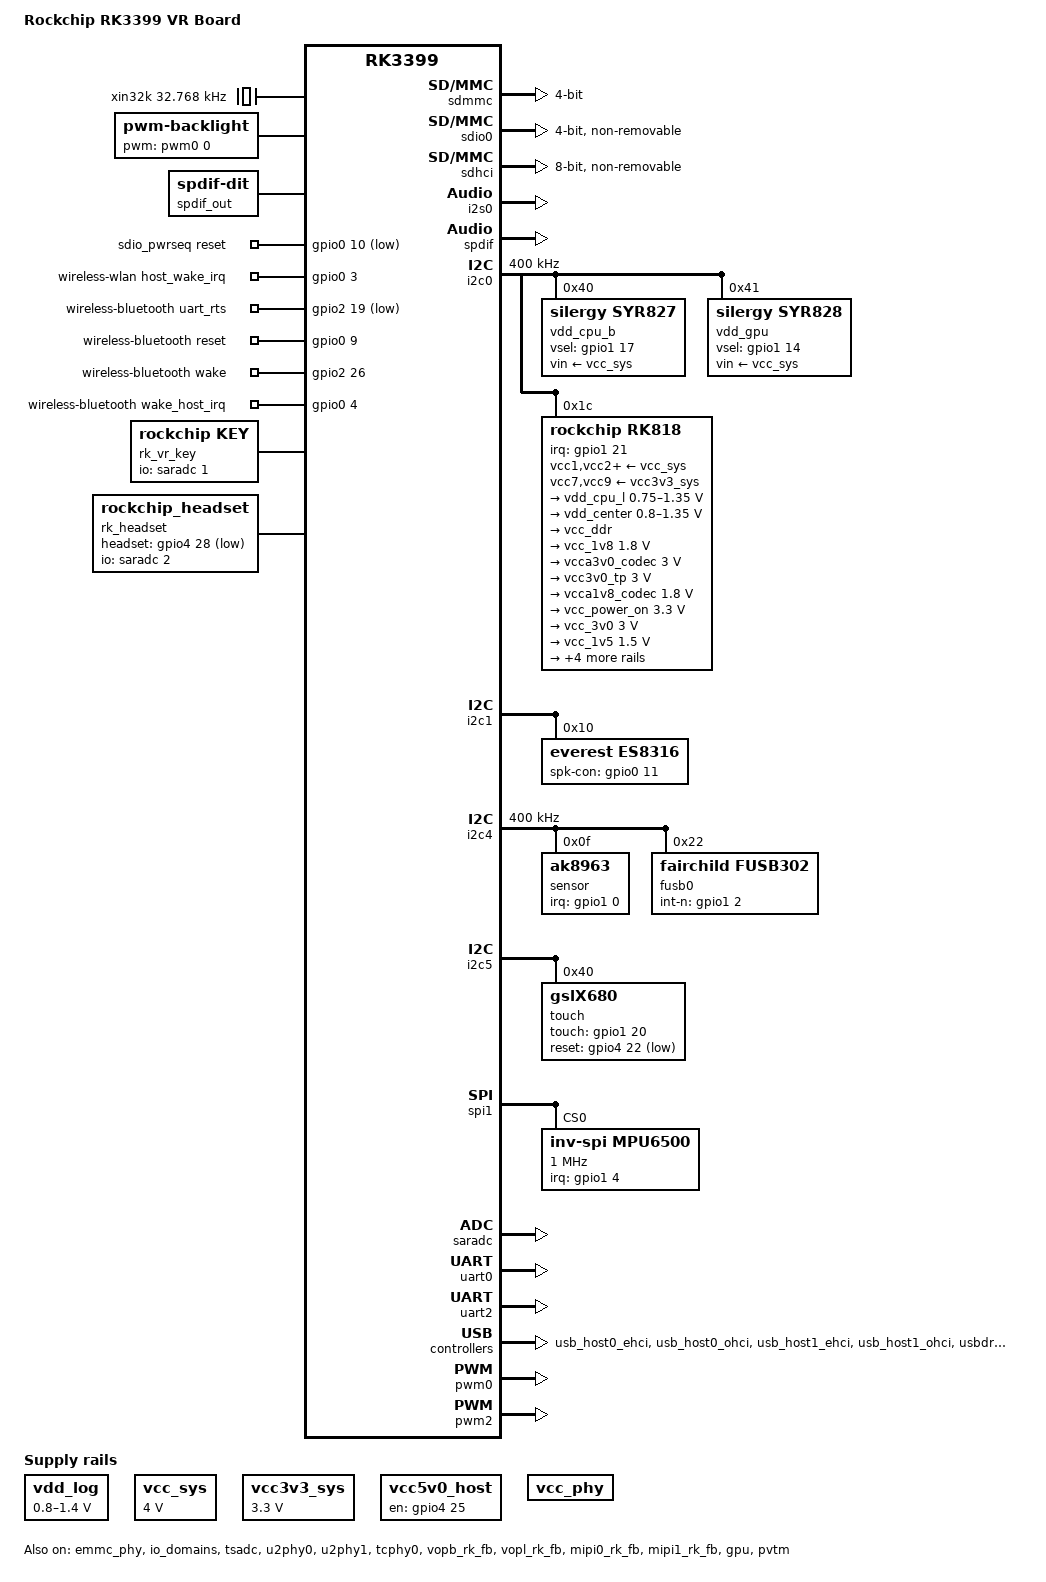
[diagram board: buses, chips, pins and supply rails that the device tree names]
/*
 * Copyright (c) 2016 Fuzhou Rockchip Electronics Co., Ltd
 *
 * This file is dual-licensed: you can use it either under the terms
 * of the GPL or the X11 license, at your option. Note that this dual
 * licensing only applies to this file, and not this project as a
 * whole.
 *
 *  a) This file is free software; you can redistribute it and/or
 *     modify it under the terms of the GNU General Public License as
 *     published by the Free Software Foundation; either version 2 of the
 *     License, or (at your option) any later version.
 *
 *     This file is distributed in the hope that it will be useful,
 *     but WITHOUT ANY WARRANTY; without even the implied warranty of
 *     MERCHANTABILITY or FITNESS FOR A PARTICULAR PURPOSE.  See the
 *     GNU General Public License for more details.
 *
 * Or, alternatively,
 *
 *  b) Permission is hereby granted, free of charge, to any person
 *     obtaining a copy of this software and associated documentation
 *     files (the "Software"), to deal in the Software without
 *     restriction, including without limitation the rights to use,
 *     copy, modify, merge, publish, distribute, sublicense, and/or
 *     sell copies of the Software, and to permit persons to whom the
 *     Software is furnished to do so, subject to the following
 *     conditions:
 *
 *     The above copyright notice and this permission notice shall be
 *     included in all copies or substantial portions of the Software.
 *
 *     THE SOFTWARE IS PROVIDED "AS IS", WITHOUT WARRANTY OF ANY KIND,
 *     EXPRESS OR IMPLIED, INCLUDING BUT NOT LIMITED TO THE WARRANTIES
 *     OF MERCHANTABILITY, FITNESS FOR A PARTICULAR PURPOSE AND
 *     NONINFRINGEMENT. IN NO EVENT SHALL THE AUTHORS OR COPYRIGHT
 *     HOLDERS BE LIABLE FOR ANY CLAIM, DAMAGES OR OTHER LIABILITY,
 *     WHETHER IN AN ACTION OF CONTRACT, TORT OR OTHERWISE, ARISING
 *     FROM, OUT OF OR IN CONNECTION WITH THE SOFTWARE OR THE USE OR
 *     OTHER DEALINGS IN THE SOFTWARE.
 */

/dts-v1/;
#include <dt-bindings/pwm/pwm.h>
#include <dt-bindings/sensor-dev.h>
#include "rk3399.dtsi"
#include "rk3399-android-6.0.dtsi"
#include "rk3399-opp.dtsi"

/ {
	model = "Rockchip RK3399 VR Board";
	compatible = "rockchip,vr", "rockchip,rk3399";

	vdd_log: vdd-log {
		compatible = "pwm-regulator";
		pwms = <&pwm2 0 25000 1>;
		rockchip,pwm_id= <2>;
		rockchip,pwm_voltage = <900000>;
		regulator-name = "vdd_log";
		regulator-min-microvolt = <800000>;
		regulator-max-microvolt = <1400000>;
		regulator-always-on;
		regulator-boot-on;
	};
	vcc_sys: vcc-sys {
		compatible = "regulator-fixed";
		regulator-name = "vcc_sys";
		regulator-always-on;
		regulator-boot-on;
		regulator-min-microvolt = <4000000>;
		regulator-max-microvolt = <4000000>;
	};
	vcc3v3_sys: vcc3v3-sys {
		compatible = "regulator-fixed";
		regulator-name = "vcc3v3_sys";
		regulator-always-on;
		regulator-boot-on;
		regulator-min-microvolt = <3300000>;
		regulator-max-microvolt = <3300000>;
	};

	vcc5v0_host: vcc5v0-host-regulator {
		compatible = "regulator-fixed";
		enable-active-high;
		gpio = <&gpio4 25 GPIO_ACTIVE_HIGH>;
		pinctrl-names = "default";
		pinctrl-0 = <&host_vbus_drv>;
		regulator-name = "vcc5v0_host";
		regulator-always-on;
	};

	xin32k: xin32k {
		compatible = "fixed-clock";
		clock-frequency = <32768>;
		clock-output-names = "xin32k";
		#clock-cells = <0>;
	};

	backlight: backlight {
		compatible = "pwm-backlight";
		pwms = <&pwm0 0 25000 0>;
		brightness-levels = <
			  0   1   2   3   4   5   6   7
			  8   9  10  11  12  13  14  15
			 16  17  18  19  20  21  22  23
			 24  25  26  27  28  29  30  31
			 32  33  34  35  36  37  38  39
			 40  41  42  43  44  45  46  47
			 48  49  50  51  52  53  54  55
			 56  57  58  59  60  61  62  63
			 64  65  66  67  68  69  70  71
			 72  73  74  75  76  77  78  79
			 80  81  82  83  84  85  86  87
			 88  89  90  91  92  93  94  95
			 96  97  98  99 100 101 102 103
			104 105 106 107 108 109 110 111
			112 113 114 115 116 117 118 119
			120 121 122 123 124 125 126 127
			128 129 130 131 132 133 134 135
			136 137 138 139 140 141 142 143
			144 145 146 147 148 149 150 151
			152 153 154 155 156 157 158 159
			160 161 162 163 164 165 166 167
			168 169 170 171 172 173 174 175
			176 177 178 179 180 181 182 183
			184 185 186 187 188 189 190 191
			192 193 194 195 196 197 198 199
			200 201 202 203 204 205 206 207
			208 209 210 211 212 213 214 215
			216 217 218 219 220 221 222 223
			224 225 226 227 228 229 230 231
			232 233 234 235 236 237 238 239
			240 241 242 243 244 245 246 247
			248 249 250 251 252 253 254 255>;
		default-brightness-level = <100>;
	};

	vcc_phy: vcc-phy-regulator {
		compatible = "regulator-fixed";
		regulator-name = "vcc_phy";
		regulator-always-on;
		regulator-boot-on;
	};

	es8316-sound {
		compatible = "simple-audio-card";
		simple-audio-card,format = "i2s";
		simple-audio-card,name = "rockchip,es8316-codec";
		simple-audio-card,mclk-fs = <256>;
		simple-audio-card,widgets =
			"Microphone", "Mic Jack",
			"Headphone", "Headphone Jack";
		simple-audio-card,routing =
			"Mic Jack", "MICBIAS1",
			"IN1P", "Mic Jack",
			"Headphone Jack", "HPOL",
			"Headphone Jack", "HPOR";
		simple-audio-card,cpu {
			sound-dai = <&i2s0>;
		};
		simple-audio-card,codec {
			sound-dai = <&es8316>;
		};
	};

	spdif-sound {
		compatible = "simple-audio-card";
		simple-audio-card,name = "rockchip,spdif";
		simple-audio-card,cpu {
			sound-dai = <&spdif>;
		};
		simple-audio-card,codec {
			sound-dai = <&spdif_out>;
		};
	};

	spdif_out: spdif-out {
		compatible = "linux,spdif-dit";
		#sound-dai-cells = <0>;
	};

	sdio_pwrseq: sdio-pwrseq {
		compatible = "mmc-pwrseq-simple";
		clocks = <&rk818 1>;
		clock-names = "ext_clock";
		pinctrl-names = "default";
		pinctrl-0 = <&wifi_enable_h>;

		/*
		 * On the module itself this is one of these (depending
		 * on the actual card populated):
		 * - SDIO_RESET_L_WL_REG_ON
		 * - PDN (power down when low)
		 */
		reset-gpios = <&gpio0 10 GPIO_ACTIVE_LOW>; /* GPIO0_B2 */
	};

	wireless-wlan {
		compatible = "wlan-platdata";
		rockchip,grf = <&grf>;
		wifi_chip_type = "ap6330";
		sdio_vref = <1800>;
		WIFI,host_wake_irq = <&gpio0 3 GPIO_ACTIVE_HIGH>; /* GPIO0_a3 */
		status = "okay";
	};

	wireless-bluetooth {
		compatible = "bluetooth-platdata";
		clocks = <&rk818 1>;
		clock-names = "ext_clock";
		//wifi-bt-power-toggle;
		uart_rts_gpios = <&gpio2 19 GPIO_ACTIVE_LOW>; /* GPIO2_C3 */
		pinctrl-names = "default", "rts_gpio";
		pinctrl-0 = <&uart0_rts>;
		pinctrl-1 = <&uart0_gpios>;
		//BT,power_gpio  = <&gpio3 19 GPIO_ACTIVE_HIGH>; /* GPIOx_xx */
		BT,reset_gpio    = <&gpio0 9 GPIO_ACTIVE_HIGH>; /* GPIO0_B1 */
		BT,wake_gpio     = <&gpio2 26 GPIO_ACTIVE_HIGH>; /* GPIO2_D2 */
		BT,wake_host_irq = <&gpio0 4 GPIO_ACTIVE_HIGH>; /* GPIO0_A4 */
		status = "okay";
	};

	uboot-charge {
		compatible = "rockchip,uboot-charge";
		rockchip,uboot-charge-on = <0>;
		rockchip,android-charge-on = <1>;
	};

	rk_vr_key: rockchip-vr-key {
		compatible = "rockchip,key";
		status = "okay";

		io-channels = <&saradc 1>;

		vol-down-key {
			linux,code = <114>;
			label = "volume down";
			rockchip,adc_value = <170>;
		};

		vol-up-key {
			linux,code = <115>;
			label = "volume up";
			rockchip,adc_value = <340>;
		};

		home-key {
			linux,code = <102>;
			label = "home";
			rockchip,adc_value = <420>;
		};

		camera-key {
			linux,code = <212>;
			label = "camera";
			rockchip,adc_value = <520>;
		};

		power-key {
			gpios = <&gpio0 5 GPIO_ACTIVE_LOW>;
			linux,code = <116>;
			label = "power";
			gpio-key,wakeup;
		};

		back-key {
			linux,code = <158>;
			label = "back";
			rockchip,adc_value = <620>;
		};

		n-key {
			linux,code = <102>;
			label = "n";
			rockchip,adc_value = <700>;
		};

		menu-key {
			linux,code = <59>;
			label = "menu";
			rockchip,adc_value = <780>;
		};
	};

	rk_headset {
		compatible = "rockchip_headset";
		headset_gpio = <&gpio4 28 GPIO_ACTIVE_LOW>;
		pinctrl-names = "default";
		pinctrl-0 = <&hp_det>;
		io-channels = <&saradc 2>;
	};
};

&sdmmc {
	clock-frequency = <150000000>;
	clock-freq-min-max = <400000 150000000>;
	supports-sd;
	bus-width = <4>;
	cap-mmc-highspeed;
	cap-sd-highspeed;
	disable-wp;
	num-slots = <1>;
	sd-uhs-sdr104;
	vqmmc-supply = <&vcc_sd>;
	pinctrl-names = "default";
	pinctrl-0 = <&sdmmc_clk &sdmmc_cmd &sdmmc_cd &sdmmc_bus4>;
	status = "okay";
};

&sdio0 {
	clock-frequency = <50000000>;
	clock-freq-min-max = <200000 50000000>;
	supports-sdio;
	bus-width = <4>;
	disable-wp;
	cap-sd-highspeed;
	cap-sdio-irq;
	keep-power-in-suspend;
	mmc-pwrseq = <&sdio_pwrseq>;
	non-removable;
	num-slots = <1>;
	pinctrl-names = "default";
	pinctrl-0 = <&sdio0_bus4 &sdio0_cmd &sdio0_clk>;
	sd-uhs-sdr104;
	status = "okay";
};

&emmc_phy {
	status = "okay";
};

&sdhci {
	bus-width = <8>;
	mmc-hs400-1_8v;
	supports-emmc;
	non-removable;
	keep-power-in-suspend;
	mmc-hs400-enhanced-strobe;
	status = "okay";
};

&i2s0 {
	status = "okay";
	rockchip,i2s-broken-burst-len;
	rockchip,playback-channels = <8>;
	rockchip,capture-channels = <8>;
	#sound-dai-cells = <0>;
};

&i2s2 {
	#sound-dai-cells = <0>;
};

&io_domains {
	status = "okay";

	bt656-supply = <&vcc1v8_dvp>;
	audio-supply = <&vcca1v8_codec>;
	sdmmc-supply = <&vcc_sd>;
	gpio1830-supply = <&vcc_3v0>;
};

&spdif {
	status = "okay";
	#sound-dai-cells = <0>;
};

&i2c0 {
	status = "okay";
	i2c-scl-rising-time-ns = <219>;
	i2c-scl-falling-time-ns = <15>;
	clock-frequency = <400000>;

	vdd_cpu_b: syr827@40 {
		compatible = "silergy,syr827";
		reg = <0x40>;
		vin-supply = <&vcc_sys>;
		regulator-compatible = "fan53555-reg";
		pinctrl-0 = <&vsel1_gpio>;
		vsel-gpios = <&gpio1 17 GPIO_ACTIVE_HIGH>;
		regulator-name = "vdd_cpu_b";
		regulator-min-microvolt = <712500>;
		regulator-max-microvolt = <1500000>;
		regulator-ramp-delay = <1000>;
		fcs,suspend-voltage-selector = <1>;
		regulator-always-on;
		regulator-initial-state = <3>;
			regulator-state-mem {
			regulator-off-in-suspend;
		};
	};

	vdd_gpu: syr828@41 {
		compatible = "silergy,syr828";
		reg = <0x41>;
		vin-supply = <&vcc_sys>;
		regulator-compatible = "fan53555-reg";
		pinctrl-0 = <&vsel2_gpio>;
		vsel-gpios = <&gpio1 14 GPIO_ACTIVE_HIGH>;
		regulator-name = "vdd_gpu";
		regulator-min-microvolt = <712500>;
		regulator-max-microvolt = <1500000>;
		regulator-ramp-delay = <1000>;
		fcs,suspend-voltage-selector = <1>;
		regulator-boot-on;
		regulator-initial-state = <3>;
		regulator-initial-mode = <1>;/*1:pwm 2: auto mode*/
			regulator-state-mem {
			regulator-off-in-suspend;
		};
	};

	rk818: pmic@1c {
		compatible = "rockchip,rk818";
		status = "okay";
		reg = <0x1c>;
		clock-output-names = "rk818-clkout1", "wifibt_32kin";
		interrupt-parent = <&gpio1>;
		interrupts = <21 IRQ_TYPE_LEVEL_LOW>;
		pinctrl-names = "default";
		pinctrl-0 = <&pmic_int_l>;
		rockchip,system-power-controller;
		wakeup-source;
		extcon = <&fusb0>;
		#clock-cells = <1>;

		vcc1-supply = <&vcc_sys>;
		vcc2-supply = <&vcc_sys>;
		vcc3-supply = <&vcc_sys>;
		vcc4-supply = <&vcc_sys>;
		vcc6-supply = <&vcc_sys>;
		vcc7-supply = <&vcc3v3_sys>;
		vcc8-supply = <&vcc_sys>;
		vcc9-supply = <&vcc3v3_sys>;

		regulators {
			vdd_cpu_l: DCDC_REG1 {
				regulator-name = "vdd_cpu_l";
				regulator-always-on;
				regulator-boot-on;
				regulator-min-microvolt = <750000>;
				regulator-max-microvolt = <1350000>;
				regulator-ramp-delay = <6001>;
				regulator-state-mem {
					regulator-off-in-suspend;
				};
			};

			vdd_center: DCDC_REG2 {
				regulator-name = "vdd_center";
				regulator-always-on;
				regulator-boot-on;
				regulator-min-microvolt = <800000>;
				regulator-max-microvolt = <1350000>;
				regulator-ramp-delay = <6001>;
				regulator-state-mem {
					regulator-off-in-suspend;
				};
			};

			vcc_ddr: DCDC_REG3 {
				regulator-name = "vcc_ddr";
				regulator-always-on;
				regulator-boot-on;
				regulator-state-mem {
					regulator-on-in-suspend;
				};
			};

			vcc_1v8: DCDC_REG4 {
				regulator-name = "vcc_1v8";
				regulator-always-on;
				regulator-boot-on;
				regulator-min-microvolt = <1800000>;
				regulator-max-microvolt = <1800000>;
				regulator-state-mem {
					regulator-on-in-suspend;
					regulator-suspend-microvolt = <1800000>;
				};
			};

			vcca3v0_codec: LDO_REG1 {
				regulator-always-on;
				regulator-boot-on;
				regulator-min-microvolt = <3000000>;
				regulator-max-microvolt = <3000000>;
				regulator-name = "vcca3v0_codec";
				regulator-state-mem {
					regulator-off-in-suspend;
				};
			};

			vcc3v0_tp: LDO_REG2 {
				regulator-always-on;
				regulator-boot-on;
				regulator-min-microvolt = <3000000>;
				regulator-max-microvolt = <3000000>;
				regulator-name = "vcc3v0_tp";
				regulator-state-mem {
					regulator-off-in-suspend;
				};
			};

			vcca1v8_codec: LDO_REG3 {
				regulator-always-on;
				regulator-boot-on;
				regulator-min-microvolt = <1800000>;
				regulator-max-microvolt = <1800000>;
				regulator-name = "vcca1v8_codec";
				regulator-state-mem {
					regulator-off-in-suspend;
				};
			};

			vcc_power_on: LDO_REG4 {
				regulator-always-on;
				regulator-boot-on;
				regulator-min-microvolt = <3300000>;
				regulator-max-microvolt = <3300000>;
				regulator-name = "vcc_power_on";
				regulator-state-mem {
					regulator-on-in-suspend;
					regulator-suspend-microvolt = <3300000>;
				};
			};

			vcc_3v0: LDO_REG5 {
				regulator-always-on;
				regulator-boot-on;
				regulator-min-microvolt = <3000000>;
				regulator-max-microvolt = <3000000>;
				regulator-name = "vcc_3v0";
				regulator-state-mem {
					regulator-on-in-suspend;
					regulator-suspend-microvolt = <3000000>;
				};
			};

			vcc_1v5: LDO_REG6 {
				regulator-always-on;
				regulator-boot-on;
				regulator-min-microvolt = <1500000>;
				regulator-max-microvolt = <1500000>;
				regulator-name = "vcc_1v5";
				regulator-state-mem {
					regulator-on-in-suspend;
					regulator-suspend-microvolt = <1500000>;
				};
			};

			vcc1v8_dvp: LDO_REG7 {
				regulator-always-on;
				regulator-boot-on;
				regulator-min-microvolt = <1800000>;
				regulator-max-microvolt = <1800000>;
				regulator-name = "vcc1v8_dvp";
				regulator-state-mem {
					regulator-on-in-suspend;
					regulator-suspend-microvolt = <1800000>;
				};
			};

			vcc3v3_s3: LDO_REG8 {
				regulator-always-on;
				regulator-boot-on;
				regulator-min-microvolt = <3300000>;
				regulator-max-microvolt = <3300000>;
				regulator-name = "vcc3v3_s3";
				regulator-state-mem {
					regulator-on-in-suspend;
					regulator-suspend-microvolt = <3300000>;
				};
			};

			vcc_sd: LDO_REG9 {
				regulator-always-on;
				regulator-boot-on;
				regulator-min-microvolt = <1800000>;
				regulator-max-microvolt = <3000000>;
				regulator-name = "vcc_sd";
				regulator-state-mem {
					regulator-on-in-suspend;
					regulator-suspend-microvolt = <3000000>;
				};
			};

			vcc3v3_s0: SWITCH_REG {
				regulator-always-on;
				regulator-boot-on;
				regulator-name = "vcc3v3_s0";
				regulator-state-mem {
					regulator-on-in-suspend;
				};
			};
		};

		battery {
			compatible = "rk818-battery";
			ocv_table = <
				3400 3599 3671 3701 3728 3746 3762
				3772 3781 3792 3816 3836 3866 3910
				3942 3971 4002 4050 4088 4132 4183>;
			design_capacity = <4000>;
			design_qmax = <4100>;
			bat_res = <100>;
			max_input_current = <2000>;
			max_chrg_current = <1800>;
			max_chrg_voltage = <4200>;
			sleep_enter_current = <300>;
			sleep_exit_current = <300>;
			power_off_thresd = <3400>;
			zero_algorithm_vol = <3850>;
			fb_temperature = <115>;
			sample_res = <10>;
			max_soc_offset = <60>;
			energy_mode = <0>;
			monitor_sec = <5>;
			virtual_power = <0>;
			power_dc2otg = <0>;
		};
	};
};

&i2c1 {
	status = "okay";
	i2c-scl-rising-time-ns = <164>;
	i2c-scl-falling-time-ns = <15>;

	es8316: es8316@10 {
		#sound-dai-cells = <0>;
		compatible = "everest,es8316";
		reg = <0x10>;
		clocks = <&cru SCLK_I2S_8CH_OUT>;
		clock-names = "mclk";
		pinctrl-names = "default";
		pinctrl-0 = <&i2s_8ch_mclk>;
		spk-con-gpio = <&gpio0 11 GPIO_ACTIVE_HIGH>;
	};
};

&i2c4 {
	status = "okay";
	i2c-scl-rising-time-ns = <345>;
	i2c-scl-falling-time-ns = <11>;
	clock-frequency = <400000>;

	sensor@0f {
		status = "okay";
		compatible = "ak8963";
		pinctrl-names = "default";
		pinctrl-0 = <&ak8963_irq_gpio>;
		reg = <0x0f>;
		type = <SENSOR_TYPE_COMPASS>;
		irq-gpio = <&gpio1 0 IRQ_TYPE_EDGE_RISING>;
		irq_enable = <1>;
		poll_delay_ms = <30>;
		layout = <1>;
	};

	fusb0: fusb30x@22 {
		compatible = "fairchild,fusb302";
		reg = <0x22>;
		pinctrl-names = "default";
		pinctrl-0 = <&fusb0_int>;
		int-n-gpios = <&gpio1 2 GPIO_ACTIVE_HIGH>;
		status = "okay";
	};
};

&i2c5 {
	status = "okay";

	touch@40 {
		compatible = "gslX680";
		reg = <0x40>;
		touch-gpio = <&gpio1 20 IRQ_TYPE_LEVEL_LOW>;
		reset-gpio = <&gpio4 22 GPIO_ACTIVE_LOW>;
		max-x = <1280>;
		max-y = <600>;
		status = "okay";
	};
};

&spi1 {
	status = "okay";
	max-freq = <50000000>;
	pinctrl-names = "default", "sleep";
	pinctrl-1 = <&spi1_gpio>;
	mpu6500@0 {
		status = "okay";
		compatible = "inv-spi,mpu6500";
		pinctrl-names = "default";
		pinctrl-0 = <&mpu6500_irq_gpio>;
		irq-gpio = <&gpio1 4 IRQ_TYPE_EDGE_RISING>;
		reg = <0>;
		spi-max-frequency = <1000000>;
		spi-cpha;
		spi-cpol;
		mpu-int_config = <0x00>;
		mpu-level_shifter = <0>;
		mpu-orientation = <1 0 0 0 1 0 0 0 1>;
		orientation-x= <1>;
		orientation-y= <0>;
		orientation-z= <1>;
		support-hw-poweroff = <1>;
		mpu-debug = <1>;
	};
};

&threshold {
	temperature = <70000>; /* millicelsius */
};

&target {
	temperature = <85000>; /* millicelsius */
};

&soc_crit {
	temperature = <115000>; /* millicelsius */
};

&tsadc {
	rockchip,hw-tshut-mode = <1>; /* tshut mode 0:CRU 1:GPIO */
	rockchip,hw-tshut-polarity = <1>; /* tshut polarity 0:LOW 1:HIGH */
	rockchip,hw-tshut-temp = <120000>;
	status = "okay";
};

&saradc {
	status = "okay";
};

&u2phy0 {
	extcon = <&fusb0>;
	status = "okay";

	u2phy0_otg: otg-port {
		status = "okay";
	};

	u2phy0_host: host-port {
		phy-supply = <&vcc5v0_host>;
		status = "okay";
	};
};

&u2phy1 {
	status = "okay";

	u2phy1_otg: otg-port {
		status = "okay";
	};

	u2phy1_host: host-port {
		phy-supply = <&vcc5v0_host>;
		status = "okay";
	};
};

&uart0 {
	pinctrl-names = "default";
	pinctrl-0 = <&uart0_xfer &uart0_cts>;
	status = "okay";
};

&uart2 {
	status = "okay";
};

&usb_host0_ehci {
	status = "okay";
};

&usb_host0_ohci {
	status = "okay";
};

&usb_host1_ehci {
	status = "okay";
};

&usb_host1_ohci {
	status = "okay";
};

&usbdrd3_0 {
	extcon = <&fusb0>;
	status = "okay";
};

&usbdrd_dwc3_0 {
	status = "okay";
};

&usbdrd3_1 {
	status = "okay";
};

&usbdrd_dwc3_1 {
	status = "okay";
};

&tcphy0 {
	status = "okay";
	extcon = <&fusb0>;
};

&pwm0 {
	status = "okay";
};

&pwm2 {
	status = "okay";
};

&vdd_center {
	rockchip,pwm_id= <3>;
	rockchip,pwm_voltage = <900000>;
};

&rk_key {
	status = "disabled";
};

&rk_screen {
	assigned-clocks = <&cru PLL_VPLL>;
	assigned-clock-rates = <245000000>;
	#include <dt-bindings/display/screen-timing/lcd-ls055r1sx04-mipi.dtsi>
};

&fb {
	rockchip,uboot-logo-on = <1>;
	rockchip,disp-mode = <NO_DUAL>;
};

&vopb_rk_fb {
	status = "okay";
	power_ctr: power_ctr {
		lcd_en: lcd-en {
			rockchip,power_type = <GPIO>;
			gpios = <&gpio3 5 GPIO_ACTIVE_HIGH>;
			rockchip,delay = <10>;
		};
		lcd_rst: lcd-rst {
			rockchip,power_type = <GPIO>;
			gpios = <&gpio3 4 GPIO_ACTIVE_HIGH>;
			rockchip,delay = <10>;
		};
	};
};

&vopl_rk_fb {
	status = "okay";
};

&mipi0_rk_fb {
	status = "okay";
};

&mipi1_rk_fb {
	status = "okay";
};

&cpu_l0 {
	cpu-supply = <&vdd_cpu_l>;
};

&cpu_l1 {
	cpu-supply = <&vdd_cpu_l>;
};

&cpu_l2 {
	cpu-supply = <&vdd_cpu_l>;
};

&cpu_l3 {
	cpu-supply = <&vdd_cpu_l>;
};

&cpu_b0 {
	cpu-supply = <&vdd_cpu_b>;
};

&cpu_b1 {
	cpu-supply = <&vdd_cpu_b>;
};

&gpu {
	status = "okay";
	mali-supply = <&vdd_gpu>;
};

&pinctrl {
	sdio-pwrseq {
		wifi_enable_h: wifi-enable-h {
			rockchip,pins = <0 10 RK_FUNC_GPIO &pcfg_pull_none>;
		};
	};

	wireless-bluetooth {
		uart0_gpios: uart0-gpios {
			rockchip,pins = <2 19 RK_FUNC_GPIO &pcfg_pull_none>;
		};
	};

	pmic {
		pmic_int_l: pmic-int-l {
			rockchip,pins =
				<1 21 RK_FUNC_GPIO &pcfg_pull_up>;
		};

		pmic_dvs2: pmic-dvs2 {
			rockchip,pins =
				<1 18 RK_FUNC_GPIO &pcfg_pull_down>;
		};

		vsel1_gpio: vsel1-gpio {
			rockchip,pins =
				<1 17 RK_FUNC_GPIO &pcfg_pull_down>;
		};

		vsel2_gpio: vsel2-gpio {
			rockchip,pins =
				<1 14 RK_FUNC_GPIO &pcfg_pull_down>;
		};
	};

	mpu6500 {
		mpu6500_irq_gpio: mpu6500-irq-gpio {
			rockchip,pins = <1 4 RK_FUNC_GPIO &pcfg_pull_none>;
		};
	};

	usb2 {
		host_vbus_drv: host-vbus-drv {
			rockchip,pins =
				<4 25 RK_FUNC_GPIO &pcfg_pull_none>;
		};
	};

	ak8963 {
		ak8963_irq_gpio: ak8963-irq-gpio {
			rockchip,pins = <1 0 RK_FUNC_GPIO &pcfg_pull_none>;
		};
	};

	spi1 {
		spi1_gpio: spi1-gpio {
			rockchip,pins =
				<1 7 RK_FUNC_GPIO &pcfg_output_low>,
				<1 8 RK_FUNC_GPIO &pcfg_output_low>,
				<1 9 RK_FUNC_GPIO &pcfg_output_low>,
				<1 10 RK_FUNC_GPIO &pcfg_output_low>;
		};
	};

	fusb30x {
		fusb0_int: fusb0-int {
			rockchip,pins = <1 2 RK_FUNC_GPIO &pcfg_pull_up>;
		};
	};

	headphone {
		hp_det: hp-det {
			rockchip,pins = <4 28 RK_FUNC_GPIO &pcfg_pull_up>;
		};
	};
};

&pvtm {
	status = "okay";
};

&pmu_pvtm {
	status = "okay";
};

&pmu_io_domains {
	status = "okay";
	pmu1830-supply = <&vcc_1v8>;
};

